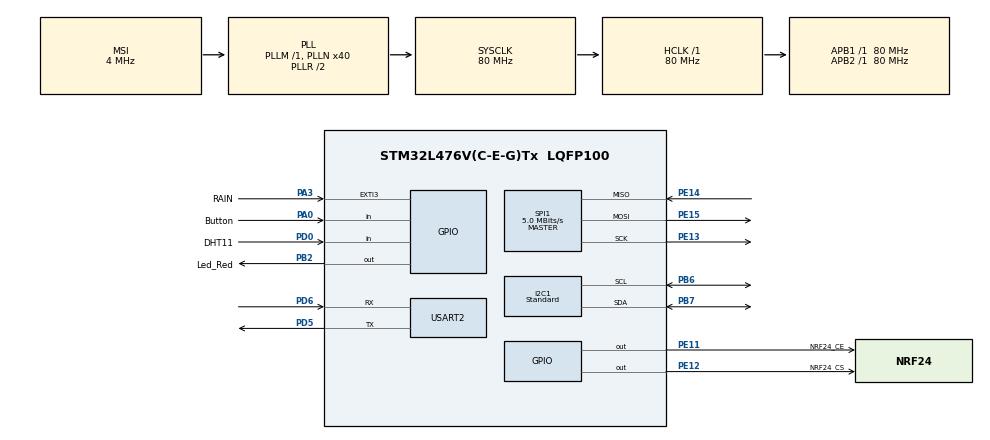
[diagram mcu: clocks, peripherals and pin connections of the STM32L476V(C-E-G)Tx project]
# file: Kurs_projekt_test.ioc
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FREERTOS.Mutexes01=MutexPrint,Dynamic,NULL;MutexI2C1,Dynamic,NULL;MutexSPI1,Dynamic,NULL
FREERTOS.Queues01=QueueToSend,5,Measured_t,0,Dynamic,NULL,NULL
FREERTOS.Tasks01=BMP_Task,24,512,StartBMP_Task,Default,NULL,Dynamic,NULL,NULL;BH_Task,24,256,StartBH_Task,Default,NULL,Dynamic,NULL,NULL;LedRed_task,8,128,StartLedRed_task,Default,NULL,Dynamic,NULL,NULL;DHT11_Task,24,256,StartDHT11Task,Default,NULL,Dynamic,NULL,NULL;SenderTask,32,2048,StartSenderTask,Default,NULL,Dynamic,NULL,NULL;IWDG_Task,8,128,StartIWDGTask,Default,NULL,Dynamic,NULL,NULL;NRF24Task,24,256,StartNRF24Task,Default,NULL,Dynamic,NULL,NULL
FREERTOS.configCHECK_FOR_STACK_OVERFLOW=2
FREERTOS.configTOTAL_HEAP_SIZE=16000
FREERTOS.configUSE_DAEMON_TASK_STARTUP_HOOK=0
FREERTOS.configUSE_MALLOC_FAILED_HOOK=1
I2C1.I2C_Speed_Mode=I2C_Standard
I2C1.Timing=0x10909CEC
IWDG.Prescaler=IWDG_PRESCALER_16
IWDG.Reload=4000
Mcu.Family=STM32L4
Mcu.Name=STM32L476V(C-E-G)Tx
Mcu.Package=LQFP100
NVIC.EXTI3_IRQn=true\:5\:0\:false\:false\:true\:true\:true\:true\:true
NVIC.PriorityGroup=NVIC_PRIORITYGROUP_4
NVIC.TIM7_IRQn=true\:15\:0\:false\:false\:true\:false\:false\:true\:true
NVIC.TimeBase=TIM7_IRQn
NVIC.TimeBaseIP=TIM7
PA0.GPIO_Label=Button
PA0.Signal=GPIO_Input
PA13\ (JTMS-SWDIO).Mode=Trace_Asynchronous_SW
PA13\ (JTMS-SWDIO).Signal=SYS_JTMS-SWDIO
PA14\ (JTCK-SWCLK).Mode=Trace_Asynchronous_SW
PA14\ (JTCK-SWCLK).Signal=SYS_JTCK-SWCLK
PA3.GPIO_Label=RAIN
PA3.Signal=GPXTI3
PB2.GPIO_Label=Led_Red
PB2.Signal=GPIO_Output
PB3\ (JTDO-TRACESWO).Mode=Trace_Asynchronous_SW
PB3\ (JTDO-TRACESWO).Signal=SYS_JTDO-SWO
PB6.Mode=I2C
PB6.Signal=I2C1_SCL
PB7.Mode=I2C
PB7.Signal=I2C1_SDA
PD0.GPIO_Label=DHT11
PD0.Signal=GPIO_Input
PD5.Mode=Asynchronous
PD5.Signal=USART2_TX
PD6.Mode=Asynchronous
PD6.Signal=USART2_RX
PE11.GPIO_Label=NRF24_CE
PE11.PinState=GPIO_PIN_SET
PE11.Signal=GPIO_Output
PE12.GPIO_Label=NRF24_CS
PE12.Signal=GPIO_Output
PE13.Mode=Full_Duplex_Master
PE13.Signal=SPI1_SCK
PE14.Mode=Full_Duplex_Master
PE14.Signal=SPI1_MISO
PE15.Mode=Full_Duplex_Master
PE15.Signal=SPI1_MOSI
ProjectManager.HeapSize=0x200
ProjectManager.StackSize=0x400
ProjectManager.TargetToolchain=STM32CubeIDE
RCC.AHBFreq_Value=80000000
RCC.APB1Freq_Value=80000000
RCC.APB1TimFreq_Value=80000000
RCC.APB2Freq_Value=80000000
RCC.APB2TimFreq_Value=80000000
RCC.CortexFreq_Value=80000000
RCC.HCLKFreq_Value=80000000
RCC.HSE_VALUE=8000000
RCC.HSI_VALUE=16000000
RCC.LSE_VALUE=32768
RCC.MSI_VALUE=4000000
RCC.PLLN=40
RCC.SYSCLKFreq_VALUE=80000000
RCC.SYSCLKSource=RCC_SYSCLKSOURCE_PLLCLK
RCC.VCOOutputFreq_Value=160000000
SPI1.BaudRatePrescaler=SPI_BAUDRATEPRESCALER_16
SPI1.CalculateBaudRate=5.0 MBits/s
SPI1.DataSize=SPI_DATASIZE_8BIT
SPI1.Direction=SPI_DIRECTION_2LINES
SPI1.FirstBit=SPI_FIRSTBIT_MSB
SPI1.Mode=SPI_MODE_MASTER
SPI1.VirtualType=VM_MASTER
USART2.VirtualMode-Asynchronous=VM_ASYNC
VP_FREERTOS_VS_CMSIS_V2.Mode=CMSIS_V2
VP_IWDG_VS_IWDG.Mode=IWDG_Activate
VP_SYS_VS_tim7.Mode=TIM7
board=custom

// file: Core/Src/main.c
/* USER CODE BEGIN Header */
/**
  ******************************************************************************
  * @file           : main.c
  * @brief          : Main program body
  ******************************************************************************
  * @attention
  *
  * Copyright (c) 2022 STMicroelectronics.
  * All rights reserved.
  *
  * This software is licensed under terms that can be found in the LICENSE file
  * in the root directory of this software component.
  * If no LICENSE file comes with this software, it is provided AS-IS.
  *
  ******************************************************************************
  */
/* USER CODE END Header */
#include "main.h"
#include "cmsis_os.h"
#include "i2c.h"
#include "iwdg.h"
#include "spi.h"
#include "usart.h"
#include "gpio.h"

void SystemClock_Config(void);
void MX_FREERTOS_Init(void);

int main(void)
{

  /* MCU Configuration--------------------------------------------------------*/

  /* Reset of all peripherals, Initializes the Flash interface and the Systick. */
  HAL_Init();

  /* Configure the system clock */
  SystemClock_Config();

  /* Initialize all configured peripherals */
  MX_GPIO_Init();
  MX_I2C1_Init();
  MX_USART2_UART_Init();
  MX_IWDG_Init();
  MX_SPI1_Init();
  /* USER CODE BEGIN 2 */
//HAL_GetTick();
  /* USER CODE END 2 */

  /* Init scheduler */
  osKernelInitialize();  /* Call init function for freertos objects (in freertos.c) */
  MX_FREERTOS_Init();

  /* Start scheduler */
  osKernelStart();

  /* We should never get here as control is now taken by the scheduler */
  /* Infinite loop */
  while (1)
  {

  }
}

void SystemClock_Config(void)
{
  RCC_OscInitTypeDef RCC_OscInitStruct = {0};
  RCC_ClkInitTypeDef RCC_ClkInitStruct = {0};

  /** Configure the main internal regulator output voltage
  */
  if (HAL_PWREx_ControlVoltageScaling(PWR_REGULATOR_VOLTAGE_SCALE1) != HAL_OK)
  {
    Error_Handler();
  }

  /** Initializes the RCC Oscillators according to the specified parameters
  * in the RCC_OscInitTypeDef structure.
  */
  RCC_OscInitStruct.OscillatorType = RCC_OSCILLATORTYPE_LSI|RCC_OSCILLATORTYPE_MSI;
  RCC_OscInitStruct.LSIState = RCC_LSI_ON;
  RCC_OscInitStruct.MSIState = RCC_MSI_ON;
  RCC_OscInitStruct.MSICalibrationValue = 0;
  RCC_OscInitStruct.MSIClockRange = RCC_MSIRANGE_6;
  RCC_OscInitStruct.PLL.PLLState = RCC_PLL_ON;
  RCC_OscInitStruct.PLL.PLLSource = RCC_PLLSOURCE_MSI;
  RCC_OscInitStruct.PLL.PLLM = 1;
  RCC_OscInitStruct.PLL.PLLN = 40;
  RCC_OscInitStruct.PLL.PLLP = RCC_PLLP_DIV7;
  RCC_OscInitStruct.PLL.PLLQ = RCC_PLLQ_DIV2;
  RCC_OscInitStruct.PLL.PLLR = RCC_PLLR_DIV2;
  if (HAL_RCC_OscConfig(&RCC_OscInitStruct) != HAL_OK)
  {
    Error_Handler();
  }

  /** Initializes the CPU, AHB and APB buses clocks
  */
  RCC_ClkInitStruct.ClockType = RCC_CLOCKTYPE_HCLK|RCC_CLOCKTYPE_SYSCLK
                              |RCC_CLOCKTYPE_PCLK1|RCC_CLOCKTYPE_PCLK2;
  RCC_ClkInitStruct.SYSCLKSource = RCC_SYSCLKSOURCE_PLLCLK;
  RCC_ClkInitStruct.AHBCLKDivider = RCC_SYSCLK_DIV1;
  RCC_ClkInitStruct.APB1CLKDivider = RCC_HCLK_DIV1;
  RCC_ClkInitStruct.APB2CLKDivider = RCC_HCLK_DIV1;

  if (HAL_RCC_ClockConfig(&RCC_ClkInitStruct, FLASH_LATENCY_4) != HAL_OK)
  {
    Error_Handler();
  }
}

void HAL_TIM_PeriodElapsedCallback(TIM_HandleTypeDef *htim)
{
  if (htim->Instance == TIM7) {
    HAL_IncTick();
  }
}

void Error_Handler(void)
{
  __disable_irq();
  while (1)
  {
  }
}

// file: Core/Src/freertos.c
/* USER CODE BEGIN Header */
/**
  ******************************************************************************
  * File Name          : freertos.c
  * Description        : Code for freertos applications
  ******************************************************************************
  * @attention
  *
  * Copyright (c) 2022 STMicroelectronics.
  * All rights reserved.
  *
  * This software is licensed under terms that can be found in the LICENSE file
  * in the root directory of this software component.
  * If no LICENSE file comes with this software, it is provided AS-IS.
  *
  ******************************************************************************
  */
/* USER CODE END Header */

#include "FreeRTOS.h"
#include "task.h"
#include "main.h"
#include "cmsis_os.h"

/* USER CODE BEGIN Includes */
#include "printf.h"
#include "bmpxx80.h"
#include "bh1750.h"
#include "i2c.h"
#include "usart.h"
#include "dwt_stm32_delay.h"
#include "DHT11.h"
#include "iwdg.h"
#include "NRF24L0plus.h"

/* USER CODE END Includes */

/* USER CODE BEGIN PD */
#define MEASURING_INTERVAL 	3000//ms
#define BLINKING_INTERVAL 	1000//ms

/* USER CODE END PD */

/* USER CODE BEGIN Variables */
typedef enum
{
	bmp_temp,
	bmp_pressure,
	dht_temp,
	dht_humidity,
	bh_light
}id_enumerating;
#define SUM_OF_ID 31

typedef struct
{
	uint8_t data_ID;
	uint32_t value;
} Measured_t;

/*typedef struct
{
	uint8_t	bmp_temperature	:1;
	uint8_t	bmp_pressure	:1;
	uint8_t	dht_temperature	:1;
	uint8_t	dht_humidity	:1;
	uint8_t	bh_light		:1;
	uint8_t	not_used01		:3;
} dataReady_status_t;
*/

/* USER CODE END Variables */
/* Definitions for BMP_Task */
osThreadId_t BMP_TaskHandle;
const osThreadAttr_t BMP_Task_attributes = {
  .name = "BMP_Task",
  .stack_size = 512 * 4,
  .priority = (osPriority_t) osPriorityNormal,
};
/* Definitions for BH_Task */
osThreadId_t BH_TaskHandle;
const osThreadAttr_t BH_Task_attributes = {
  .name = "BH_Task",
  .stack_size = 256 * 4,
  .priority = (osPriority_t) osPriorityNormal,
};
/* Definitions for LedRed_task */
osThreadId_t LedRed_taskHandle;
const osThreadAttr_t LedRed_task_attributes = {
  .name = "LedRed_task",
  .stack_size = 128 * 4,
  .priority = (osPriority_t) osPriorityLow,
};
/* Definitions for DHT11_Task */
osThreadId_t DHT11_TaskHandle;
const osThreadAttr_t DHT11_Task_attributes = {
  .name = "DHT11_Task",
  .stack_size = 256 * 4,
  .priority = (osPriority_t) osPriorityNormal,
};
/* Definitions for SenderTask */
osThreadId_t SenderTaskHandle;
const osThreadAttr_t SenderTask_attributes = {
  .name = "SenderTask",
  .stack_size = 2048 * 4,
  .priority = (osPriority_t) osPriorityAboveNormal,
};
/* Definitions for IWDG_Task */
osThreadId_t IWDG_TaskHandle;
const osThreadAttr_t IWDG_Task_attributes = {
  .name = "IWDG_Task",
  .stack_size = 128 * 4,
  .priority = (osPriority_t) osPriorityLow,
};
/* Definitions for NRF24Task */
osThreadId_t NRF24TaskHandle;
const osThreadAttr_t NRF24Task_attributes = {
  .name = "NRF24Task",
  .stack_size = 256 * 4,
  .priority = (osPriority_t) osPriorityNormal,
};
/* Definitions for QueueToSend */
osMessageQueueId_t QueueToSendHandle;
const osMessageQueueAttr_t QueueToSend_attributes = {
  .name = "QueueToSend"
};
/* Definitions for MutexPrint */
osMutexId_t MutexPrintHandle;
const osMutexAttr_t MutexPrint_attributes = {
  .name = "MutexPrint"
};
/* Definitions for MutexI2C1 */
osMutexId_t MutexI2C1Handle;
const osMutexAttr_t MutexI2C1_attributes = {
  .name = "MutexI2C1"
};
/* Definitions for MutexSPI1 */
osMutexId_t MutexSPI1Handle;
const osMutexAttr_t MutexSPI1_attributes = {
  .name = "MutexSPI1"
};

void StartBMP_Task(void *argument);
void StartBH_Task(void *argument);
void StartLedRed_task(void *argument);
void StartDHT11Task(void *argument);
void StartSenderTask(void *argument);
void StartIWDGTask(void *argument);
void StartNRF24Task(void *argument);

void MX_FREERTOS_Init(void); /* (MISRA C 2004 rule 8.1) */

/* Hook prototypes */
void vApplicationStackOverflowHook(xTaskHandle xTask, signed char *pcTaskName);
void vApplicationMallocFailedHook(void);

/* USER CODE BEGIN 4 */
void vApplicationStackOverflowHook(xTaskHandle xTask, signed char *pcTaskName)
{
   /* Run time stack overflow checking is performed if
   configCHECK_FOR_STACK_OVERFLOW is defined to 1 or 2. This hook function is
   called if a stack overflow is detected. */
	while(1)
			{;}
}
/* USER CODE END 4 */

/* USER CODE BEGIN 5 */
void vApplicationMallocFailedHook(void)
{
   /* vApplicationMallocFailedHook() will only be called if
   configUSE_MALLOC_FAILED_HOOK is set to 1 in FreeRTOSConfig.h. It is a hook
   function that will get called if a call to pvPortMalloc() fails.
   pvPortMalloc() is called internally by the kernel whenever a task, queue,
   timer or semaphore is created. It is also called by various parts of the
   demo application. If heap_1.c or heap_2.c are used, then the size of the
   heap available to pvPortMalloc() is defined by configTOTAL_HEAP_SIZE in
   FreeRTOSConfig.h, and the xPortGetFreeHeapSize() API function can be used
   to query the size of free heap space that remains (although it does not
   provide information on how the remaining heap might be fragmented). */
	while(1)
		{;}
}
/* USER CODE END 5 */

void MX_FREERTOS_Init(void) {
  /* Create the mutex(es) */
  /* creation of MutexPrint */
  MutexPrintHandle = osMutexNew(&MutexPrint_attributes);

  /* creation of MutexI2C1 */
  MutexI2C1Handle = osMutexNew(&MutexI2C1_attributes);

  /* creation of MutexSPI1 */
  MutexSPI1Handle = osMutexNew(&MutexSPI1_attributes);

  /* Create the queue(s) */
  /* creation of QueueToSend */
  QueueToSendHandle = osMessageQueueNew (5, sizeof(Measured_t), &QueueToSend_attributes);

  /* Create the thread(s) */
  /* creation of BMP_Task */
  BMP_TaskHandle = osThreadNew(StartBMP_Task, NULL, &BMP_Task_attributes);

  /* creation of BH_Task */
  BH_TaskHandle = osThreadNew(StartBH_Task, NULL, &BH_Task_attributes);

  /* creation of LedRed_task */
  LedRed_taskHandle = osThreadNew(StartLedRed_task, NULL, &LedRed_task_attributes);

  /* creation of DHT11_Task */
  DHT11_TaskHandle = osThreadNew(StartDHT11Task, NULL, &DHT11_Task_attributes);

  /* creation of SenderTask */
  SenderTaskHandle = osThreadNew(StartSenderTask, NULL, &SenderTask_attributes);

  /* creation of IWDG_Task */
  IWDG_TaskHandle = osThreadNew(StartIWDGTask, NULL, &IWDG_Task_attributes);

  /* creation of NRF24Task */
  NRF24TaskHandle = osThreadNew(StartNRF24Task, NULL, &NRF24Task_attributes);

}

void StartBMP_Task(void *argument)
{
  /* USER CODE BEGIN StartBMP_Task */
	Measured_t bmp;
	osMutexAcquire(MutexI2C1Handle, osWaitForever);
	BMP280_Init(&hi2c1, BMP280_TEMPERATURE_16BIT, BMP280_STANDARD, BMP280_FORCEDMODE);
	osMutexRelease(MutexI2C1Handle);

  /* Infinite loop */
  for(;;)
  {
	  osMutexAcquire(MutexI2C1Handle, osWaitForever);
	  bmp.data_ID = bmp_temp;
	  bmp.value = BMP280_ReadTemperature();
	  osMutexRelease(MutexI2C1Handle);
	  osMessageQueuePut(QueueToSendHandle, &bmp, 0, osWaitForever);

	  osMutexAcquire(MutexI2C1Handle, osWaitForever);
	  bmp.data_ID = bmp_pressure;
	  bmp.value = BMP280_ReadPressure();
	  osMutexRelease(MutexI2C1Handle);
	  osMessageQueuePut(QueueToSendHandle, &bmp, 0, osWaitForever);

	  osDelay(MEASURING_INTERVAL);
  }
  /* USER CODE END StartBMP_Task */
}

void StartBH_Task(void *argument)
{
  /* USER CODE BEGIN StartBH_Task */
	Measured_t measuring;
	measuring.data_ID = bh_light;

	osMutexAcquire(MutexI2C1Handle, osWaitForever);
	if(BH1750_OK == BH1750_Init(&hi2c1))
	{
		printf("BH init OK!\n\r");
	}else
	{
		printf("BH init error!\n\r");
	}

	BH1750_SetMode(CONTINUOUS_HIGH_RES_MODE);
	osMutexRelease(MutexI2C1Handle);

  /* Infinite loop */
  for(;;)
  {
	  osMutexAcquire(MutexI2C1Handle, osWaitForever);
	  if(BH1750_OK == BH1750_ReadLight(&measuring.value))
	  {
		  osMessageQueuePut(QueueToSendHandle, &measuring, 0, osWaitForever);
		  //printf("Light: %d lx\n\r",BH1750_lx_value);
	  }else
	  {
		  osMutexAcquire(MutexPrintHandle, osWaitForever);
		  printf("BH error!\n\r");
		  osMutexRelease(MutexPrintHandle);
	  }
	  osMutexRelease(MutexI2C1Handle);

	  osDelay(MEASURING_INTERVAL);
  }
  /* USER CODE END StartBH_Task */
}

void StartLedRed_task(void *argument)
{
  /* USER CODE BEGIN StartLedRed_task */
  /* Infinite loop */
  for(;;)
  {
	  HAL_GPIO_TogglePin(Led_Red_GPIO_Port,Led_Red_Pin);
	  osDelay(BLINKING_INTERVAL);
  }
  /* USER CODE END StartLedRed_task */
}

void StartDHT11Task(void *argument)
{
  /* USER CODE BEGIN StartDHT11Task */
	//uint32_t DHT_temperature,DHT_humidity;
	DWT_Delay_Init();
	uint8_t temperature;
	uint8_t humidity;
	Measured_t dht;
  /* Infinite loop */
  for(;;)
  {

	  DHT11_Start();
	  taskENTER_CRITICAL();
	  DHT11_TempAndHumidity((uint16_t*)&temperature, (uint16_t*)&humidity);
	  taskEXIT_CRITICAL();

	  dht.data_ID = dht_temp;
	  dht.value = temperature;
	  osMessageQueuePut(QueueToSendHandle, &dht, 0, osWaitForever);

	  dht.data_ID = dht_humidity;
	  dht.value = humidity;
	  osMessageQueuePut(QueueToSendHandle, (Measured_t*) &dht,  0, osWaitForever);

	  osDelay(MEASURING_INTERVAL);
  }
  /* USER CODE END StartDHT11Task */
}

void StartSenderTask(void *argument)
{
  /* USER CODE BEGIN StartSenderTask */
	Measured_t received;

	int8_t temperature_BMP;
	uint32_t pressure_BMP;
	uint32_t pressure_afterComa;
	int8_t temperature_DHT;
	uint8_t humidity_DHT;
	uint32_t light_BH;

	uint8_t dataReady_status = 0;

  /* Infinite loop */
  for(;;)
  {
	osMessageQueueGet(QueueToSendHandle, &received, 0, osWaitForever);

		switch (received.data_ID)
		{
		case bmp_temp:
			temperature_BMP = received.value;

			dataReady_status |=(1<<bmp_temp);
			break;

		case bmp_pressure:
			pressure_afterComa = received.value;	//to use less variables
			pressure_BMP = pressure_afterComa / 100;
			pressure_afterComa = pressure_afterComa %100;

			dataReady_status |=(1<<bmp_pressure);
			break;

		case dht_humidity:
			humidity_DHT = received.value;

			dataReady_status |=(1<<dht_humidity);
			break;

		case dht_temp:
			temperature_DHT = received.value;

			dataReady_status |=(1<<dht_temp);
			break;

		case bh_light:
			light_BH = received.value;

			dataReady_status |=(1<<bh_light);
			break;

		default:
			printf("\nError in switch case!!\n\r");
		}

		if (dataReady_status == SUM_OF_ID)
		{

			if (GPIO_PIN_SET == HAL_GPIO_ReadPin(RAIN_GPIO_Port, RAIN_Pin))
			{
			osMutexAcquire(MutexPrintHandle,osWaitForever);
			printf("{\"temp\":%d, \"hum\":%d, \"press\":%d.%d,"
					"\"light\":%d, \"batt\":4.58, \"rain\":1}\n\r",
					temperature_BMP, humidity_DHT,
					pressure_BMP, pressure_afterComa,
					light_BH);
			osMutexRelease(MutexPrintHandle);
			} else
			{
			osMutexAcquire(MutexPrintHandle,osWaitForever);
			printf("{\"temp\":%d, \"hum\":%d, \"press\":%d.%d,"
					"\"light\":%d, \"batt\":4.58, \"rain\":0}\n\r",
					temperature_BMP, humidity_DHT,
					pressure_BMP, pressure_afterComa,
					light_BH);
			osMutexRelease(MutexPrintHandle);
			}
			dataReady_status = 0;
		}
  }
  /* USER CODE END StartSenderTask */
}

void StartIWDGTask(void *argument)
{
  /* USER CODE BEGIN StartIWDGTask */
  /* Infinite loop */
  for(;;)
  {
	  osDelay(1800);
	  HAL_IWDG_Refresh(&hiwdg);
  }
  /* USER CODE END StartIWDGTask */
}

void StartNRF24Task(void *argument)
{
  /* USER CODE BEGIN StartNRF24Task */
	nrf24_CE_enable();
	uint8_t pipes[2];

	nrf24_WriteReg(CONFIG,PWR_UP);
	nrf24_WriteReg(EN_RXADDR,PIPE4_EN);

  /* Infinite loop */
  for(;;)
  {
	  if(HAL_OK != nrf24_ReadReg(CONFIG, pipes))
	  {
		  printf("siuuuuuuuuuuu\n\r");
	  } else
	  {
		  osMutexAcquire(MutexPrintHandle, osWaitForever);
		  printf("NRF24 enabled pipes1: %d\n\r",pipes[0]);
		  printf("NRF24 enabled pipes2: %d\n\r",pipes[1]);
		  osMutexRelease(MutexPrintHandle);
	  }

	  osDelay(1000);
  }
  /* USER CODE END StartNRF24Task */
}

/* USER CODE BEGIN Application */
void _putchar(char character)
{
	HAL_UART_Transmit(&huart2, (uint8_t *) &character, 1, 1000);
  // send char to console etc.
}

/* USER CODE END Application */
